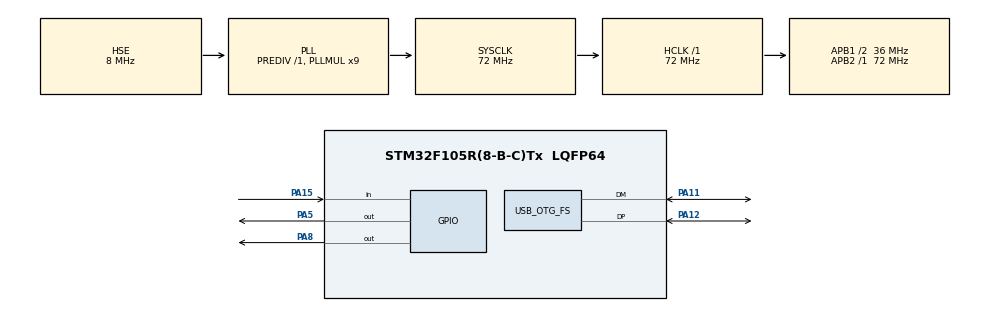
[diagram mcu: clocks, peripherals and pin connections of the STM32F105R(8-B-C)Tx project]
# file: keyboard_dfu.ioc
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Mcu.Family=STM32F1
Mcu.Name=STM32F105R(8-B-C)Tx
Mcu.Package=LQFP64
NVIC.FLASH_IRQn=true\:0\:0\:false\:false\:true\:true\:true\:true
NVIC.OTG_FS_IRQn=true\:0\:0\:false\:false\:true\:true\:true\:true
NVIC.PVD_IRQn=true\:0\:0\:false\:false\:true\:true\:true\:true
NVIC.PriorityGroup=NVIC_PRIORITYGROUP_4
NVIC.RCC_IRQn=true\:0\:0\:false\:false\:true\:true\:false\:true
NVIC.TIM7_IRQn=true\:15\:0\:false\:false\:true\:false\:true\:true
NVIC.TimeBase=TIM7_IRQn
NVIC.TimeBaseIP=TIM7
PA11.Mode=Device_Only
PA11.Signal=USB_OTG_FS_DM
PA12.Mode=Device_Only
PA12.Signal=USB_OTG_FS_DP
PA13.Mode=Serial_Wire
PA13.Signal=SYS_JTMS-SWDIO
PA14.Mode=Serial_Wire
PA14.Signal=SYS_JTCK-SWCLK
PA15.GPIO_PuPd=GPIO_PULLDOWN
PA15.Signal=GPIO_Input
PA5.GPIO_PuPd=GPIO_PULLDOWN
PA5.Signal=GPIO_Output
PA8.GPIO_PuPd=GPIO_PULLDOWN
PA8.Signal=GPIO_Output
PD0-OSC_IN.Mode=HSE-External-Oscillator
PD0-OSC_IN.Signal=RCC_OSC_IN
PD1-OSC_OUT.Mode=HSE-External-Oscillator
PD1-OSC_OUT.Signal=RCC_OSC_OUT
ProjectManager.HeapSize=0x1800
ProjectManager.StackSize=0x1800
ProjectManager.TargetToolchain=STM32CubeIDE
RCC.ADCPresc=RCC_ADCPCLK2_DIV6
RCC.AHBFreq_Value=72000000
RCC.APB1CLKDivider=RCC_HCLK_DIV2
RCC.APB1Freq_Value=36000000
RCC.APB1TimFreq_Value=72000000
RCC.APB2Freq_Value=72000000
RCC.APB2TimFreq_Value=72000000
RCC.EnbaleCSS=true
RCC.HCLKFreq_Value=72000000
RCC.PLLMUL=RCC_PLL_MUL9
RCC.PLLSourceVirtual=RCC_PLLSOURCE_HSE
RCC.SYSCLKFreq_VALUE=72000000
RCC.SYSCLKSource=RCC_SYSCLKSOURCE_PLLCLK
RCC.USBFreq_Value=48000000
USB_DEVICE.CLASS_NAME_FS=DFU
USB_DEVICE.MANUFACTURER_STRING=tomertomism
USB_DEVICE.PRODUCT_STRING_DFU_FS=KeyBored in DFU
USB_DEVICE.USBD_DFU_APP_DEFAULT_ADD=0x08005000
USB_DEVICE.USBD_DFU_MEDIA=@Internal Flash /0x08000000/10*002Ka,192*002Kg
USB_DEVICE.USBD_MAX_NUM_CONFIGURATION=1
USB_DEVICE.USBD_MAX_NUM_INTERFACES=1
USB_DEVICE.USBD_MAX_STR_DESC_SIZ=1024
USB_DEVICE.USBD_SELF_POWERED=0
USB_DEVICE.VirtualMode=Dfu
USB_DEVICE.VirtualModeFS=Dfu_FS
USB_OTG_FS.VirtualMode=Device_Only
VP_SYS_VS_tim7.Mode=TIM7
VP_USB_DEVICE_VS_USB_DEVICE_DFU_FS.Mode=DFU_FS
board=custom

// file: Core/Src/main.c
/* USER CODE BEGIN Header */
/**
  ******************************************************************************
  * @file           : main.c
  * @brief          : Main program body
  ******************************************************************************
  * @attention
  *
  * Copyright (c) 2025 STMicroelectronics.
  * All rights reserved.
  *
  * This software is licensed under terms that can be found in the LICENSE file
  * in the root directory of this software component.
  * If no LICENSE file comes with this software, it is provided AS-IS.
  *
  ******************************************************************************
  */
/* USER CODE END Header */
#include "main.h"
#include "usb_device.h"
#include "gpio.h"

/* USER CODE BEGIN Includes */
#include "custom_keymap.h"
/* USER CODE END Includes */

/* USER CODE BEGIN PTD */
typedef  void (*pFunction)(void);
/* USER CODE END PTD */

/* USER CODE BEGIN PV */
pFunction JumpToApplication;
uint32_t JumpAddress;

/* USER CODE END PV */

void SystemClock_Config(void);

int main(void)
{

  /* USER CODE BEGIN 1 */
  //SCB->VTOR = 0x8030000;
  /* USER CODE END 1 */

  /* MCU Configuration--------------------------------------------------------*/

  /* Reset of all peripherals, Initializes the Flash interface and the Systick. */
  HAL_Init();

  /* Configure the system clock */
  SystemClock_Config();

  /* Initialize all configured peripherals */
  MX_GPIO_Init();
  MX_USB_DEVICE_Init();
  /* USER CODE BEGIN 2 */
  column_13_set;
  while(!column_13_offset);
  HAL_Delay(10);
  if(row_3_offset){
	  // at least 1000 ms delay must present before MX_USB_DEVICE_Init() in order to work properly
	  HAL_Delay(1000);
	  MX_USB_DEVICE_Init();
	  GPIOA->ODR = 1 << 5;
	  while(1){}
  }
  column_13_reset;
  if(((* (__IO uint32_t *) USBD_DFU_APP_DEFAULT_ADD) & 0x2ffc0000) == 0x20000000){
	  JumpAddress = * (__IO uint32_t *) (USBD_DFU_APP_DEFAULT_ADD + 4);
	  JumpToApplication = (pFunction) JumpAddress;

	  __set_MSP(* (__IO uint32_t *) USBD_DFU_APP_DEFAULT_ADD);
	  __disable_irq();
	  JumpToApplication();
  }
  /* USER CODE END 2 */

  /* Infinite loop */
  while (1)
  {

  }
}

void SystemClock_Config(void)
{
  RCC_OscInitTypeDef RCC_OscInitStruct = {0};
  RCC_ClkInitTypeDef RCC_ClkInitStruct = {0};
  RCC_PeriphCLKInitTypeDef PeriphClkInit = {0};

  /** Initializes the RCC Oscillators according to the specified parameters
  * in the RCC_OscInitTypeDef structure.
  */
  RCC_OscInitStruct.OscillatorType = RCC_OSCILLATORTYPE_HSE;
  RCC_OscInitStruct.HSEState = RCC_HSE_ON;
  RCC_OscInitStruct.HSEPredivValue = RCC_HSE_PREDIV_DIV1;
  RCC_OscInitStruct.HSIState = RCC_HSI_ON;
  RCC_OscInitStruct.Prediv1Source = RCC_PREDIV1_SOURCE_HSE;
  RCC_OscInitStruct.PLL.PLLState = RCC_PLL_ON;
  RCC_OscInitStruct.PLL.PLLSource = RCC_PLLSOURCE_HSE;
  RCC_OscInitStruct.PLL.PLLMUL = RCC_PLL_MUL9;
  RCC_OscInitStruct.PLL2.PLL2State = RCC_PLL_NONE;
  if (HAL_RCC_OscConfig(&RCC_OscInitStruct) != HAL_OK)
  {
    Error_Handler();
  }

  /** Initializes the CPU, AHB and APB buses clocks
  */
  RCC_ClkInitStruct.ClockType = RCC_CLOCKTYPE_HCLK|RCC_CLOCKTYPE_SYSCLK
                              |RCC_CLOCKTYPE_PCLK1|RCC_CLOCKTYPE_PCLK2;
  RCC_ClkInitStruct.SYSCLKSource = RCC_SYSCLKSOURCE_PLLCLK;
  RCC_ClkInitStruct.AHBCLKDivider = RCC_SYSCLK_DIV1;
  RCC_ClkInitStruct.APB1CLKDivider = RCC_HCLK_DIV2;
  RCC_ClkInitStruct.APB2CLKDivider = RCC_HCLK_DIV1;

  if (HAL_RCC_ClockConfig(&RCC_ClkInitStruct, FLASH_LATENCY_2) != HAL_OK)
  {
    Error_Handler();
  }
  PeriphClkInit.PeriphClockSelection = RCC_PERIPHCLK_USB;
  PeriphClkInit.UsbClockSelection = RCC_USBCLKSOURCE_PLL_DIV3;
  if (HAL_RCCEx_PeriphCLKConfig(&PeriphClkInit) != HAL_OK)
  {
    Error_Handler();
  }

  /** Enables the Clock Security System
  */
  HAL_RCC_EnableCSS();

  /** Configure the Systick interrupt time
  */
  __HAL_RCC_PLLI2S_ENABLE();
}

void HAL_TIM_PeriodElapsedCallback(TIM_HandleTypeDef *htim)
{
  if (htim->Instance == TIM7)
  {
    HAL_IncTick();
  }
}

void Error_Handler(void)
{
  __disable_irq();
  while (1)
  {
  }
}
